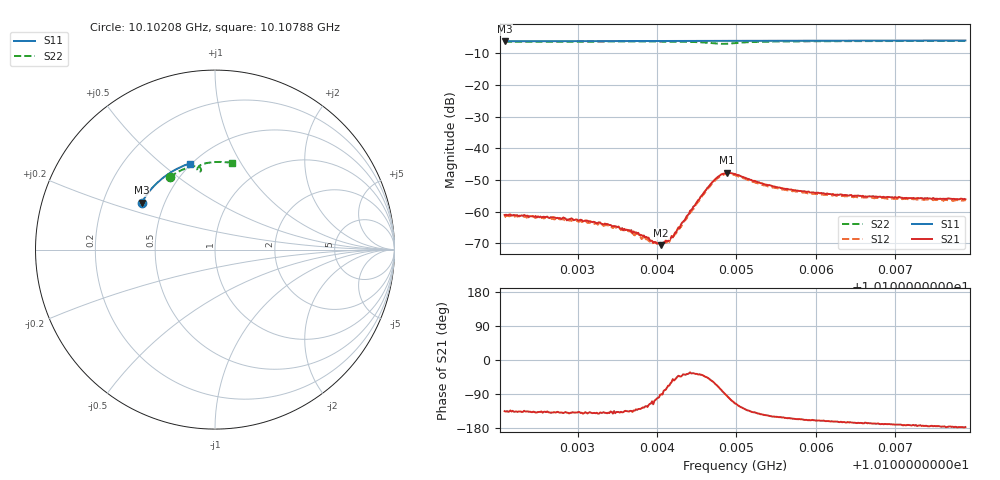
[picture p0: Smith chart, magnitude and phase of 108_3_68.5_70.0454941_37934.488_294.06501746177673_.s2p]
#  HZ  S  RI  R  50.00
! Rohde & Schwarz Vector Network Analyzer
! Rohde-Schwarz,ZNB20-2Port,1311601062101988,3.16
! Created: UTC 3/20/2024, 5:08:36 PM
! freq[Hz]  re:S11  im:S11  re:S21  im:S21  re:S12  im:S12  re:S22  im:S22
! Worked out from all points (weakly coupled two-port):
!   401 points, 10.10208 GHz to 10.10788 GHz, reference 50 ohm
!   highest |S21| = -47.71 dB at 10.10488 GHz (marker M1); lowest = -70.6 dB at 10.10405 GHz (marker M2)
!   lowest |S11| = -6.3 dB at 10.10208 GHz (marker M3), VSWR 2.88, Z = 18.6 + j12.8 ohm
!   |S11| at or under -10 dB: nowhere
!   |S22| runs from -7.1 to -6.2 dB; largest |S21 - S12| = 0.00043
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1.0102083e10  -0.4082 0.2621  -0.000628 -0.000628  -0.000513 -0.000641  -0.2515 0.4058
1.0102141e10  -0.4065 0.2653  -0.00065 -0.000631  -0.000541 -0.000654  -0.2484 0.408
1.0102431e10  -0.3972 0.2804  -0.00063 -0.000575  -0.00057 -0.000618  -0.2325 0.4183
1.0103054e10  -0.3757 0.3115  -0.000561 -0.000482  -0.000492 -0.000491  -0.1964 0.4381
1.0103373e10  -0.3639 0.3268  -0.000496 -0.000408  -0.000421 -0.000448  -0.1766 0.4471
1.0103663e10  -0.3523 0.3402  -0.000349 -0.000358  -0.00029 -0.000402  -0.1582 0.4544
1.0103822e10  -0.3459 0.3475  -0.000241 -0.000342  -0.000206 -0.000343  -0.1473 0.4581
1.0103938e10  -0.3412 0.3526  -0.000114 -0.000329  -9.03e-05 -0.000304  -0.1392 0.4603
1.0104025e10  -0.3375 0.3564  -4.79e-05 -0.00031  -2.34e-06 -0.000292  -0.1328 0.4622
1.0104054e10  -0.3362 0.3578  -2.8e-06 -0.000296  2.27e-05 -0.000305  -0.1307 0.4626
1.0104141e10  -0.3326 0.3614  0.00013 -0.00032  0.000158 -0.000313  -0.1239 0.4636
1.0104228e10  -0.3287 0.3653  0.000294 -0.000368  0.000316 -0.000307  -0.1168 0.4647
1.0104532e10  -0.3154 0.3778  0.00124 -0.000962  0.00127 -0.000807  -0.0888 0.4609
1.0104706e10  -0.3075 0.3847  0.00162 -0.00253  0.00176 -0.00231  -0.0772 0.4452
1.0104793e10  -0.3035 0.3881  0.000909 -0.00364  0.00124 -0.0034  -0.0814 0.4355
1.010488e10  -0.2996 0.3914  -0.000342 -0.0041  1.91e-05 -0.00394  -0.0917 0.4344
1.0104982e10  -0.2948 0.3953  -0.00163 -0.00357  -0.00124 -0.00358  -0.0986 0.4439
1.0105431e10  -0.2734 0.4121  -0.0022 -0.00136  -0.00194 -0.0015  -0.0719 0.4748
1.0105953e10  -0.2472 0.4299  -0.00187 -0.000755  -0.00172 -0.00086  -0.0343 0.4843
1.0106634e10  -0.2113 0.4502  -0.00167 -0.000415  -0.00158 -0.000534  0.0117 0.4883
1.0106924e10  -0.1956 0.458  -0.00168 -0.000329  -0.00157 -0.000451  0.0307 0.4885
1.0107881e10  -0.142 0.4795  -0.00157 -8.08e-05  -0.00148 -0.000217  0.0924 0.483
